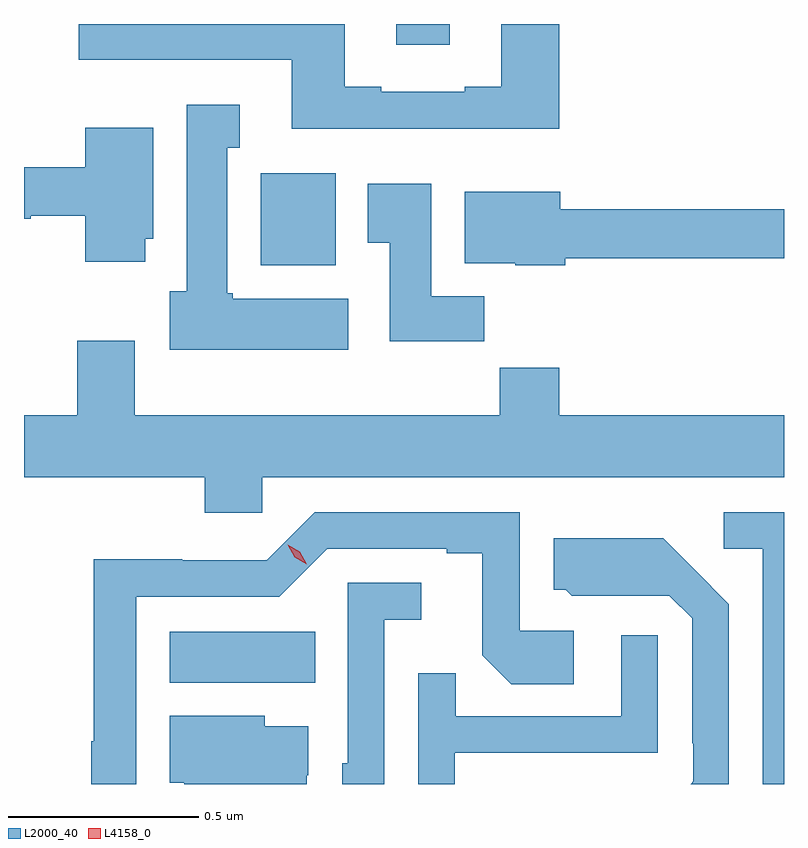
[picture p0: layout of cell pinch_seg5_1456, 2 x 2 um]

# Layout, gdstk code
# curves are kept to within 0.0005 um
import gdstk
lib = gdstk.Library(unit=1e-6, precision=1e-09)
def R(c, l, rs):  # rectangles x0, y0, x1, y1
    for r in rs: c.add(gdstk.rectangle(r[:2], r[2:], *l))
def P(c, l, *ps):  # polygons
    for p in ps: c.add(gdstk.Polygon(p, *l))
L2000_40 = (2000, 40)
L4158_0 = (4158, 0)

pinch_seg5_1456 = lib.new_cell('pinch_seg5_1456')
R(pinch_seg5_1456, L2000_40, [(159.35,912.164,159.734,912.298), (159.59,913.262,159.787,913.504), (159.947,913.842,160.087,913.897)])
P(pinch_seg5_1456, L2000_40, [(160.376,913.897),(160.223,913.897),(160.223,913.732),(160.127,913.732),(160.127,913.719),(159.907,913.719),(159.907,913.732),(159.811,913.732),(159.811,913.897),(159.111,913.897),(159.111,913.803),(159.671,913.803),(159.671,913.622),(160.376,913.622)],
  [(159.82,913.174),(159.516,913.174),(159.516,913.188),(159.502,913.188),(159.502,913.571),(159.535,913.571),(159.535,913.684),(159.395,913.684),(159.395,913.194),(159.35,913.194),(159.35,913.04),(159.82,913.04)],
  [(159.286,913.332),(159.307,913.332),(159.307,913.624),(159.128,913.624),(159.128,913.52),(158.967,913.52),(158.967,913.384),(158.985,913.384),(158.985,913.392),(159.128,913.392),(159.128,913.272),(159.286,913.272)],
  [(160.178,913.18),(160.039,913.18),(160.039,913.477),(159.872,913.477),(159.872,913.321),(159.929,913.321),(159.929,913.062),(160.178,913.062)],
  [(160.391,913.281),(160.967,913.281),(160.967,913.409),(160.378,913.409),(160.378,913.456),(160.127,913.456),(160.127,913.268),(160.26,913.268),(160.26,913.262),(160.391,913.262)],
  [(159.594,912.704),(160.967,912.704),(160.967,912.868),(160.376,912.868),(160.376,912.992),(160.219,912.992),(160.219,912.868),(159.259,912.868),(159.259,913.063),(159.107,913.063),(159.107,912.868),(158.967,912.868),(158.967,912.704),(159.443,912.704),(159.443,912.611),(159.594,912.611)],
  [(159.262,912.39),(159.639,912.39),(159.765,912.516),(160.079,912.516),(160.079,912.504),(160.173,912.504),(160.173,912.236),(160.249,912.16),(160.414,912.16),(160.414,912.3),(160.272,912.3),(160.272,912.612),(159.732,912.612),(159.606,912.486),(159.384,912.486),(159.384,912.488),(159.151,912.488),(159.151,912.009),(159.144,912.009),(159.144,911.897),(159.262,911.897)],
  [(160.967,912.612),(160.809,912.612),(160.809,912.516),(160.911,912.516),(160.911,911.897),(160.967,911.897)],
  [(160.821,912.37),(160.649,912.544),(160.361,912.544),(160.361,912.408),(160.392,912.408),(160.408,912.392),(160.542,912.392),(160.542,912.393),(160.665,912.393),(160.725,912.333),(160.725,912.004),(160.728,912.004),(160.728,911.904),(160.721,911.897),(160.821,911.897)],
  [(159.915,912.329),(160.012,912.329),(160.012,912.426),(159.819,912.426),(159.819,911.952),(159.804,911.952),(159.804,911.897),(159.915,911.897)],
  [(160.101,911.979),(160.635,911.979),(160.635,912.289),(160.539,912.289),(160.539,912.075),(160.103,912.075),(160.103,912.188),(160.005,912.188),(160.005,911.897),(160.101,911.897)],
  [(159.711,911.92),(159.715,911.92),(159.715,912.049),(159.6,912.049),(159.6,912.076),(159.35,912.076),(159.35,911.9),(159.389,911.9),(159.389,911.897),(159.711,911.897)])
P(pinch_seg5_1456, L4158_0, [(159.711,912.475),(159.679,912.494),(159.661,912.526),(159.661,912.527),(159.661,912.527),(159.693,912.508),(159.711,912.475),(159.711,912.475)])

lib.write_gds('pinch_seg5_1456.gds')
